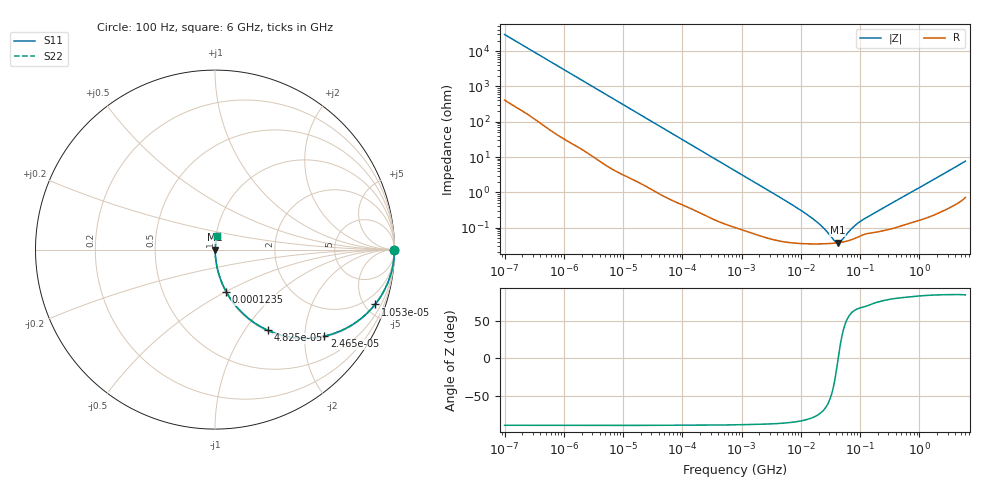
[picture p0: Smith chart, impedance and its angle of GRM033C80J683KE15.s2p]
!Murata Part Number: GRM033C80J683KE15
!These Parameters are Measured in Series Mode Connection
!Data Generated on Mar 30, 2021
!  o--ll--o
!Port1  Port2
!  o------o
!Operation Temp=25[degC], DC Bias Voltage=0[V]
!Freq. Start=100[Hz] Stop=6[GHz] 401[Steps]
# Hz S RI R 50
!Freq.(Hz) S11(Real) S11(Imag) S21(Real) S21(Imag) S12(Real) S12(Imag) S22(Real) S22(Imag)
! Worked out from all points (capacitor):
!   401 points, 100 Hz to 6 GHz, reference 50 ohm
!   read as one part in series: C = 53.5 nF near 109 Hz
!   lowest |Z| = 37.3 mohm at 41.66 MHz (marker M1)
!   series resonance near 42.75 MHz, so ESL is about 260 pH
!   S11 on the Smith chart (normalised r, x): 100 Hz: open; 10.53 kHz: 1.06, -5.82; 24.65 kHz: 1.03, -2.50; 48.25 kHz: 1.02, -1.28; 123.5 kHz: 1.01, -0.50; 6 GHz: 1.01, +0.15
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100  0.9999 -0.00337  5.8e-05 0.00337  5.8e-05 0.00337  0.9999 -0.00337
2008  0.9949 -0.0658  0.00507 0.0658  0.00507 0.0658  0.9949 -0.0658
4918  0.9732 -0.1565  0.0268 0.1565  0.0268 0.1565  0.9732 -0.1565
10527  0.8919 -0.3054  0.1081 0.3054  0.1081 0.3054  0.8919 -0.3054
15752  0.7892 -0.4023  0.2108 0.4023  0.2108 0.4023  0.7892 -0.4023
24648  0.6088 -0.4822  0.3912 0.4822  0.3912 0.4822  0.6088 -0.4822
40335  0.3719 -0.4774  0.6281 0.4774  0.6281 0.4774  0.3719 -0.4774
48246  0.2942 -0.4496  0.7058 0.4496  0.7058 0.4496  0.2942 -0.4496
75495  0.1481 -0.3487  0.8519 0.3487  0.8519 0.3487  0.1481 -0.3487
123542  0.063 -0.2357  0.937 0.2357  0.937 0.2357  0.063 -0.2357
276587  0.0147 -0.1118  0.9853 0.1118  0.9853 0.1118  0.0147 -0.1118
774597  0.00268 -0.0408  0.9973 0.0408  0.9973 0.0408  0.00268 -0.0408
6075234  0.000409 -0.00524  0.9996 0.00524  0.9996 0.00524  0.000409 -0.00524
1.555665e7  0.000349 -0.00181  0.9997 0.00181  0.9997 0.00181  0.000349 -0.00181
2.434276e7  0.000349 -0.000903  0.9997 0.000903  0.9997 0.000903  0.000349 -0.000903
3.64232e7  0.000363 -0.000244  0.9996 0.000244  0.9996 0.000244  0.000363 -0.000244
4.165952e7  0.000371 -3.88e-05  0.9996 3.88e-05  0.9996 3.88e-05  0.000371 -3.88e-05
4.764863e7  0.000383 0.000165  0.9996 -0.000165  0.9996 -0.000165  0.000383 0.000165
7.129496e7  0.000454 0.0008  0.9995 -0.0008  0.9995 -0.0008  0.000454 0.0008
9.753859e7  0.000568 0.00133  0.9994 -0.00133  0.9994 -0.00133  0.000568 0.00133
3.124326e8  0.000911 0.00444  0.9991 -0.00444  0.9991 -0.00444  0.000911 0.00444
6e9  0.0128 0.0748  0.9872 -0.0748  0.9872 -0.0748  0.0128 0.0748
